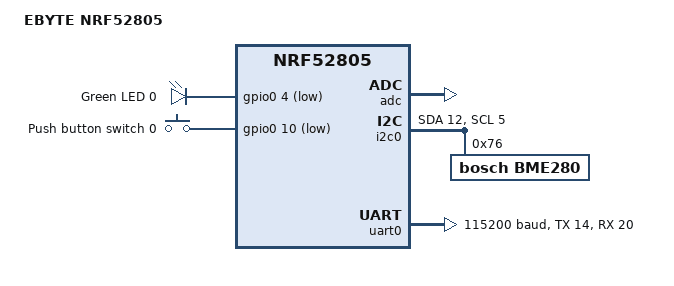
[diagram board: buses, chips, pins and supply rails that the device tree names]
/*
 * SPDX-License-Identifier: Apache-2.0
 */

/dts-v1/;
#include <nordic/nrf52805_caaa.dtsi>

/ {
    model = "EBYTE NRF52805";
    compatible = "ebyte,ebyte-nrf52805";

    chosen {
        zephyr,console = &uart0;
        zephyr,shell-uart = &uart0;
        zephyr,uart-mcumgr = &uart0;
        zephyr,bt-mon-uart = &uart0;
        zephyr,bt-c2h-uart = &uart0;
        zephyr,sram = &sram0;
        zephyr,flash = &flash0;
        zephyr,code-partition = &slot0_partition;
    };

    leds {
        compatible = "gpio-leds";
        led0: led_0 {
            gpios = <&gpio0 4 GPIO_ACTIVE_LOW>;
            label = "Green LED 0";
        };
    };

    gpio_keys {
        compatible = "gpio-keys";
        button0: button_0 {
            label = "Push button switch 0";
            gpios = <&gpio0 10 (GPIO_PULL_UP | GPIO_ACTIVE_LOW)>;
        };
    };

    /* These aliases are provided for compatibility with samples */
    aliases {
        led0 = &led0;
        sw0 = &button0;
    };
};

&adc {
    status = "okay";
};

&gpio0 {
    status = "okay";
};

&gpiote {
    status = "okay";
};

&i2c0 {
    compatible = "nordic,nrf-twi";
    status = "okay";
    sda-pin = <12>;
    scl-pin = <5>;

    bme280@76 {
        compatible = "bosch,bme280";
        reg = <0x76>; /* SDO pulled down */
        label = "BME280";
    };
};
/*
&spi0 {
    compatible = "nordic,nrf-spi";
    status = "okay";
    sck-pin = <29>;
    mosi-pin = <31>;
    miso-pin = <30>;
};
 */
&uart0 {
    compatible = "nordic,nrf-uarte";
    status = "okay";
    current-speed = <115200>;
    tx-pin = <14>;
    rx-pin = <20>;
};

&flash0 {
    /*
     * For more information, see:
     * http://docs.zephyrproject.org/latest/guides/dts/index.html#flash-partitions
     */
    partitions {
        compatible = "fixed-partitions";
        #address-cells = <1>;
        #size-cells = <1>;

        boot_partition: partition@0 {
            label = "mcuboot";
            reg = <0x00000000 0xc000>;
        };
        slot0_partition: partition@c000 {
            label = "image-0";
            reg = <0x0000C000 0xd000>;
        };
        slot1_partition: partition@19000 {
            label = "image-1";
            reg = <0x00019000 0xd000>;
        };
        scratch_partition: partition@26000 {
            label = "image-scratch";
            reg = <0x00026000 0x3000>;
        };
        storage_partition: partition@29000 {
            label = "storage";
            reg = <0x00029000 0x00007000>;
        };
    };
};
